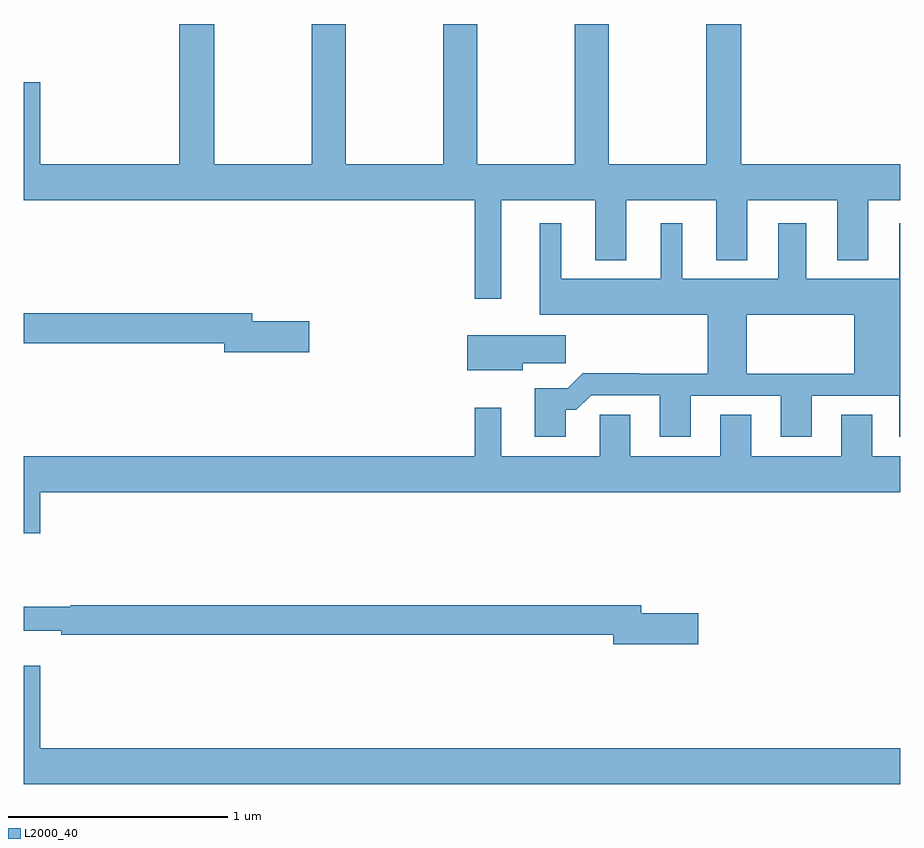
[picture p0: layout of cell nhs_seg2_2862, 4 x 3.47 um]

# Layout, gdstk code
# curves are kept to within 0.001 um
import gdstk
lib = gdstk.Library(unit=1e-6, precision=1e-09)
def P(c, l, *ps):  # polygons
    for p in ps: c.add(gdstk.Polygon(p, *l))
L2000_40 = (2000, 40)

nhs_seg2_2862 = lib.new_cell('nhs_seg2_2862')
P(nhs_seg2_2862, L2000_40, [(263.179,620.996),(263.609,620.996),(263.609,620.723),(263.749,620.723),(263.749,620.996),(264.161,620.996),(264.161,620.723),(264.301,620.723),(264.301,620.996),(264.713,620.996),(264.713,620.723),(264.853,620.723),(264.853,620.996),(265,620.996),(265,621.16),(264.275,621.16),(264.275,621.8),(264.115,621.8),(264.115,621.16),(263.67,621.16),(263.67,621.8),(263.515,621.8),(263.515,621.16),(263.07,621.16),(263.07,621.8),(262.915,621.8),(262.915,621.16),(262.47,621.16),(262.47,621.8),(262.315,621.8),(262.315,621.16),(261.87,621.16),(261.87,621.8),(261.71,621.8),(261.71,621.16),(261.076,621.16),(261.076,621.535),(261,621.535),(261,620.996),(263.058,620.996),(263.058,620.547),(263.179,620.547)],
  [(263.807,620.207),(263.552,620.207),(263.482,620.137),(263.333,620.137),(263.333,619.917),(263.473,619.917),(263.473,620.039),(263.522,620.039),(263.589,620.106),(263.903,620.106),(263.903,619.917),(264.043,619.917),(264.043,620.103),(264.455,620.103),(264.455,619.917),(264.595,619.917),(264.595,620.103),(264.995,620.103),(264.995,619.917),(265,619.917),(265,620.89),(264.995,620.89),(264.995,620.638),(264.571,620.638),(264.571,620.89),(264.443,620.89),(264.443,620.638),(264.004,620.638),(264.004,620.89),(263.906,620.89),(263.906,620.638),(263.452,620.638),(263.452,620.89),(263.354,620.89),(263.354,620.474),(264.122,620.474),(264.122,620.204),(264.3,620.204),(264.3,620.474),(264.791,620.474),(264.791,620.204),(263.807,620.204)],
  [(262.303,620.444),(262.042,620.444),(262.042,620.48),(261,620.48),(261,620.344),(261.914,620.344),(261.914,620.302),(262.303,620.302)],
  [(263.278,620.251),(263.473,620.251),(263.473,620.38),(263.024,620.38),(263.024,620.219),(263.278,620.219)],
  [(261.076,619.664),(265,619.664),(265,619.828),(264.871,619.828),(264.871,620.018),(264.731,620.018),(264.731,619.828),(264.319,619.828),(264.319,620.018),(264.179,620.018),(264.179,619.828),(263.767,619.828),(263.767,620.018),(263.628,620.018),(263.628,619.828),(263.179,619.828),(263.179,620.05),(263.058,620.05),(263.058,619.828),(261,619.828),(261,619.476),(261.076,619.476)],
  [(264.079,619.112),(263.818,619.112),(263.818,619.148),(261.214,619.148),(261.214,619.141),(261,619.141),(261,619.031),(261.172,619.031),(261.172,619.012),(263.69,619.012),(263.69,618.97),(264.079,618.97)],
  [(265,618.496),(261.076,618.496),(261.076,618.871),(261,618.871),(261,618.332),(265,618.332)])

lib.write_gds('nhs_seg2_2862.gds')
